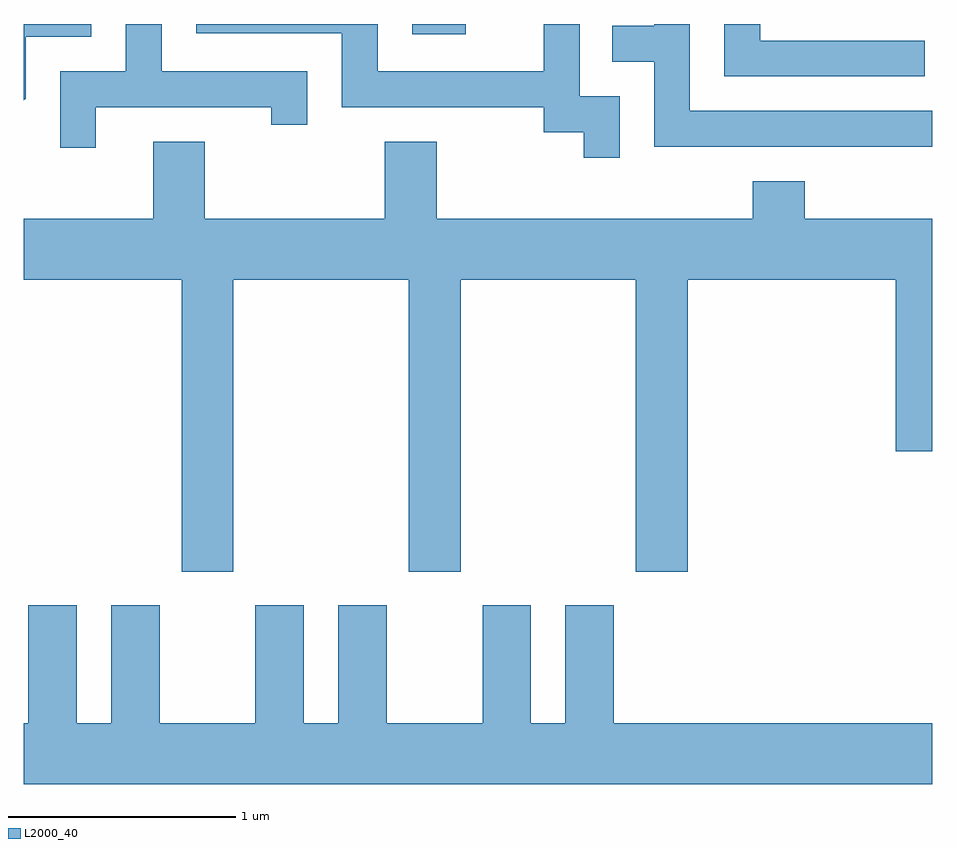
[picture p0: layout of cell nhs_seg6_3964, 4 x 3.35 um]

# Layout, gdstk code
import gdstk
lib = gdstk.Library(unit=1e-6, precision=1e-09)
def R(c, l, rs):  # rectangles x0, y0, x1, y1
    for r in rs: c.add(gdstk.rectangle(r[:2], r[2:], *l))
def P(c, l, *ps):  # polygons
    for p in ps: c.add(gdstk.Polygon(p, *l))
L2000_40 = (2000, 40)

nhs_seg6_3964 = lib.new_cell('nhs_seg6_3964')
R(nhs_seg6_3964, L2000_40, [(305.321,1662.116,305.558,1662.162)])
P(nhs_seg6_3964, L2000_40, [(303.929,1661.796),(304.701,1661.796),(304.701,1661.718),(304.859,1661.718),(304.859,1661.954),(304.219,1661.954),(304.219,1662.162),(304.061,1662.162),(304.061,1661.954),(303.771,1661.954),(303.771,1661.618),(303.929,1661.618)],
  [(307.578,1662.089),(306.854,1662.089),(306.854,1662.162),(306.696,1662.162),(306.696,1661.931),(307.578,1661.931)],
  [(307.611,1661.779),(306.544,1661.779),(306.544,1662.162),(306.386,1662.162),(306.386,1662.154),(306.203,1662.154),(306.203,1661.996),(306.386,1661.996),(306.386,1661.621),(307.611,1661.621)],
  [(303.619,1661.834),(303.619,1662.106),(303.909,1662.106),(303.909,1662.162),(303.611,1662.162),(303.611,1661.826)],
  [(306.234,1661.844),(306.059,1661.844),(306.059,1662.162),(305.901,1662.162),(305.901,1661.954),(305.169,1661.954),(305.169,1662.162),(304.371,1662.162),(304.371,1662.121),(305.011,1662.121),(305.011,1661.796),(305.901,1661.796),(305.901,1661.686),(306.076,1661.686),(306.076,1661.573),(306.234,1661.573)],
  [(304.534,1661.036),(305.306,1661.036),(305.306,1659.751),(305.534,1659.751),(305.534,1661.036),(306.306,1661.036),(306.306,1659.751),(306.534,1659.751),(306.534,1661.036),(307.451,1661.036),(307.451,1660.281),(307.611,1660.281),(307.611,1661.304),(307.049,1661.304),(307.049,1661.469),(306.821,1661.469),(306.821,1661.304),(305.429,1661.304),(305.429,1661.644),(305.201,1661.644),(305.201,1661.304),(304.409,1661.304),(304.409,1661.644),(304.181,1661.644),(304.181,1661.304),(303.611,1661.304),(303.611,1661.036),(304.306,1661.036),(304.306,1659.751),(304.534,1659.751)],
  [(307.611,1659.084),(306.209,1659.084),(306.209,1659.604),(305.996,1659.604),(305.996,1659.084),(305.844,1659.084),(305.844,1659.604),(305.631,1659.604),(305.631,1659.084),(305.209,1659.084),(305.209,1659.604),(304.996,1659.604),(304.996,1659.084),(304.844,1659.084),(304.844,1659.604),(304.631,1659.604),(304.631,1659.084),(304.209,1659.084),(304.209,1659.604),(303.996,1659.604),(303.996,1659.084),(303.844,1659.084),(303.844,1659.604),(303.631,1659.604),(303.631,1659.084),(303.611,1659.084),(303.611,1658.816),(307.611,1658.816)])

lib.write_gds('nhs_seg6_3964.gds')
